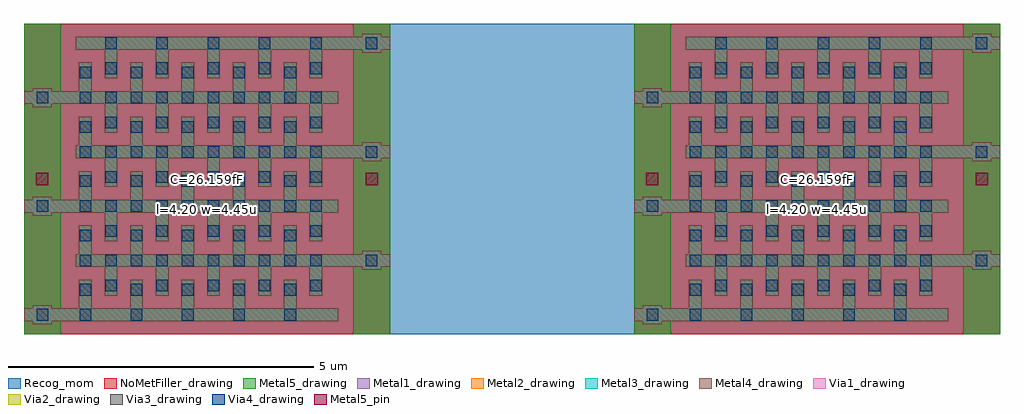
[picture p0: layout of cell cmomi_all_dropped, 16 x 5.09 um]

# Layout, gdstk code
import gdstk
lib = gdstk.Library(unit=1e-6, precision=1e-09)
def R(c, l, rs):  # rectangles x0, y0, x1, y1
    for r in rs: c.add(gdstk.rectangle(r[:2], r[2:], *l))
def A(c, l, x, y, w, h, nx, ny, dx, dy):  # array of equal rectangles
    R(c, l, [(x+i*dx, y+j*dy, x+i*dx+w, y+j*dy+h) for i in range(nx) for j in range(ny)])
Metal1_drawing = (8, 0)
Metal2_drawing = (10, 0)
Via1_drawing = (19, 0)
Via2_drawing = (29, 0)
Metal3_drawing = (30, 0)
Via3_drawing = (49, 0)
Metal4_drawing = (50, 0)
Via4_drawing = (66, 0)
Metal5_drawing = (67, 0)
Metal5_pin = (67, 2)
Recog_mom = (99, 39)
NoMetFiller_drawing = (160, 0)

cmomi_all_dropped = lib.new_cell('cmomi_all_dropped')
A(cmomi_all_dropped, Metal1_drawing, 0.145, -2.38, 0.31, 0.31, 1, 3, 0, 1.78)
A(cmomi_all_dropped, Metal1_drawing, 10.145, -2.38, 0.31, 0.31, 1, 3, 0, 1.78)
A(cmomi_all_dropped, Metal1_drawing, 0, -2.33, 5.15, 0.21, 1, 3, 0, 1.78)
A(cmomi_all_dropped, Metal1_drawing, 10, -2.33, 5.15, 0.21, 1, 3, 0, 1.78)
A(cmomi_all_dropped, Metal1_drawing, 0.9, -2.225, 0.21, 0.575, 5, 5, 0.84, 0.89)
A(cmomi_all_dropped, Metal1_drawing, 10.9, -2.225, 0.21, 0.575, 5, 5, 0.84, 0.89)
A(cmomi_all_dropped, Metal1_drawing, 1.32, -1.91, 0.21, 0.575, 5, 5, 0.84, 0.89)
A(cmomi_all_dropped, Metal1_drawing, 11.32, -1.91, 0.21, 0.575, 5, 5, 0.84, 0.89)
A(cmomi_all_dropped, Metal1_drawing, 5.545, -1.49, 0.31, 0.31, 1, 3, 0, 1.78)
A(cmomi_all_dropped, Metal1_drawing, 15.545, -1.49, 0.31, 0.31, 1, 3, 0, 1.78)
A(cmomi_all_dropped, Metal1_drawing, 0.85, -1.44, 5.15, 0.21, 1, 3, 0, 1.78)
A(cmomi_all_dropped, Metal1_drawing, 10.85, -1.44, 5.15, 0.21, 1, 3, 0, 1.78)
A(cmomi_all_dropped, Metal2_drawing, 0.145, -2.38, 0.31, 0.31, 1, 3, 0, 1.78)
A(cmomi_all_dropped, Metal2_drawing, 10.145, -2.38, 0.31, 0.31, 1, 3, 0, 1.78)
A(cmomi_all_dropped, Metal2_drawing, 0, -2.33, 5.15, 0.21, 1, 3, 0, 1.78)
A(cmomi_all_dropped, Metal2_drawing, 10, -2.33, 5.15, 0.21, 1, 3, 0, 1.78)
A(cmomi_all_dropped, Metal2_drawing, 0.9, -2.225, 0.21, 0.575, 5, 5, 0.84, 0.89)
A(cmomi_all_dropped, Metal2_drawing, 10.9, -2.225, 0.21, 0.575, 5, 5, 0.84, 0.89)
A(cmomi_all_dropped, Metal2_drawing, 1.32, -1.91, 0.21, 0.575, 5, 5, 0.84, 0.89)
A(cmomi_all_dropped, Metal2_drawing, 11.32, -1.91, 0.21, 0.575, 5, 5, 0.84, 0.89)
A(cmomi_all_dropped, Metal2_drawing, 5.545, -1.49, 0.31, 0.31, 1, 3, 0, 1.78)
A(cmomi_all_dropped, Metal2_drawing, 15.545, -1.49, 0.31, 0.31, 1, 3, 0, 1.78)
A(cmomi_all_dropped, Metal2_drawing, 0.85, -1.44, 5.15, 0.21, 1, 3, 0, 1.78)
A(cmomi_all_dropped, Metal2_drawing, 10.85, -1.44, 5.15, 0.21, 1, 3, 0, 1.78)
A(cmomi_all_dropped, Via1_drawing, 0.205, -2.32, 0.19, 0.19, 1, 3, 0, 1.78)
A(cmomi_all_dropped, Via1_drawing, 0.91, -2.32, 0.19, 0.19, 5, 2, 0.84, 0.41)
A(cmomi_all_dropped, Via1_drawing, 10.205, -2.32, 0.19, 0.19, 1, 3, 0, 1.78)
A(cmomi_all_dropped, Via1_drawing, 10.91, -2.32, 0.19, 0.19, 5, 2, 0.84, 0.41)
A(cmomi_all_dropped, Via1_drawing, 1.33, -1.84, 0.19, 0.19, 5, 5, 0.84, 0.89)
A(cmomi_all_dropped, Via1_drawing, 11.33, -1.84, 0.19, 0.19, 5, 5, 0.84, 0.89)
A(cmomi_all_dropped, Via1_drawing, 0.91, -1.43, 0.19, 0.19, 10, 4, 0.42, 0.89)
A(cmomi_all_dropped, Via1_drawing, 5.605, -1.43, 0.19, 0.19, 1, 3, 0, 1.78)
A(cmomi_all_dropped, Via1_drawing, 10.91, -1.43, 0.19, 0.19, 10, 4, 0.42, 0.89)
A(cmomi_all_dropped, Via1_drawing, 15.605, -1.43, 0.19, 0.19, 1, 3, 0, 1.78)
A(cmomi_all_dropped, Via1_drawing, 0.91, -1.02, 0.19, 0.19, 5, 4, 0.84, 0.89)
A(cmomi_all_dropped, Via1_drawing, 10.91, -1.02, 0.19, 0.19, 5, 4, 0.84, 0.89)
A(cmomi_all_dropped, Via1_drawing, 1.33, 2.13, 0.19, 0.19, 5, 1, 0.84, 0)
A(cmomi_all_dropped, Via1_drawing, 11.33, 2.13, 0.19, 0.19, 5, 1, 0.84, 0)
A(cmomi_all_dropped, Via2_drawing, 0.205, -2.32, 0.19, 0.19, 1, 3, 0, 1.78)
A(cmomi_all_dropped, Via2_drawing, 0.91, -2.32, 0.19, 0.19, 5, 2, 0.84, 0.41)
A(cmomi_all_dropped, Via2_drawing, 10.205, -2.32, 0.19, 0.19, 1, 3, 0, 1.78)
A(cmomi_all_dropped, Via2_drawing, 10.91, -2.32, 0.19, 0.19, 5, 2, 0.84, 0.41)
A(cmomi_all_dropped, Via2_drawing, 1.33, -1.84, 0.19, 0.19, 5, 5, 0.84, 0.89)
A(cmomi_all_dropped, Via2_drawing, 11.33, -1.84, 0.19, 0.19, 5, 5, 0.84, 0.89)
A(cmomi_all_dropped, Via2_drawing, 0.91, -1.43, 0.19, 0.19, 10, 4, 0.42, 0.89)
A(cmomi_all_dropped, Via2_drawing, 5.605, -1.43, 0.19, 0.19, 1, 3, 0, 1.78)
A(cmomi_all_dropped, Via2_drawing, 10.91, -1.43, 0.19, 0.19, 10, 4, 0.42, 0.89)
A(cmomi_all_dropped, Via2_drawing, 15.605, -1.43, 0.19, 0.19, 1, 3, 0, 1.78)
A(cmomi_all_dropped, Via2_drawing, 0.91, -1.02, 0.19, 0.19, 5, 4, 0.84, 0.89)
A(cmomi_all_dropped, Via2_drawing, 10.91, -1.02, 0.19, 0.19, 5, 4, 0.84, 0.89)
A(cmomi_all_dropped, Via2_drawing, 1.33, 2.13, 0.19, 0.19, 5, 1, 0.84, 0)
A(cmomi_all_dropped, Via2_drawing, 11.33, 2.13, 0.19, 0.19, 5, 1, 0.84, 0)
A(cmomi_all_dropped, Metal3_drawing, 0.145, -2.38, 0.31, 0.31, 1, 3, 0, 1.78)
A(cmomi_all_dropped, Metal3_drawing, 10.145, -2.38, 0.31, 0.31, 1, 3, 0, 1.78)
A(cmomi_all_dropped, Metal3_drawing, 0, -2.33, 5.15, 0.21, 1, 3, 0, 1.78)
A(cmomi_all_dropped, Metal3_drawing, 10, -2.33, 5.15, 0.21, 1, 3, 0, 1.78)
A(cmomi_all_dropped, Metal3_drawing, 0.9, -2.225, 0.21, 0.575, 5, 5, 0.84, 0.89)
A(cmomi_all_dropped, Metal3_drawing, 10.9, -2.225, 0.21, 0.575, 5, 5, 0.84, 0.89)
A(cmomi_all_dropped, Metal3_drawing, 1.32, -1.91, 0.21, 0.575, 5, 5, 0.84, 0.89)
A(cmomi_all_dropped, Metal3_drawing, 11.32, -1.91, 0.21, 0.575, 5, 5, 0.84, 0.89)
A(cmomi_all_dropped, Metal3_drawing, 5.545, -1.49, 0.31, 0.31, 1, 3, 0, 1.78)
A(cmomi_all_dropped, Metal3_drawing, 15.545, -1.49, 0.31, 0.31, 1, 3, 0, 1.78)
A(cmomi_all_dropped, Metal3_drawing, 0.85, -1.44, 5.15, 0.21, 1, 3, 0, 1.78)
A(cmomi_all_dropped, Metal3_drawing, 10.85, -1.44, 5.15, 0.21, 1, 3, 0, 1.78)
A(cmomi_all_dropped, Via3_drawing, 0.205, -2.32, 0.19, 0.19, 1, 3, 0, 1.78)
A(cmomi_all_dropped, Via3_drawing, 0.91, -2.32, 0.19, 0.19, 5, 2, 0.84, 0.41)
A(cmomi_all_dropped, Via3_drawing, 10.205, -2.32, 0.19, 0.19, 1, 3, 0, 1.78)
A(cmomi_all_dropped, Via3_drawing, 10.91, -2.32, 0.19, 0.19, 5, 2, 0.84, 0.41)
A(cmomi_all_dropped, Via3_drawing, 1.33, -1.84, 0.19, 0.19, 5, 5, 0.84, 0.89)
A(cmomi_all_dropped, Via3_drawing, 11.33, -1.84, 0.19, 0.19, 5, 5, 0.84, 0.89)
A(cmomi_all_dropped, Via3_drawing, 0.91, -1.43, 0.19, 0.19, 10, 4, 0.42, 0.89)
A(cmomi_all_dropped, Via3_drawing, 5.605, -1.43, 0.19, 0.19, 1, 3, 0, 1.78)
A(cmomi_all_dropped, Via3_drawing, 10.91, -1.43, 0.19, 0.19, 10, 4, 0.42, 0.89)
A(cmomi_all_dropped, Via3_drawing, 15.605, -1.43, 0.19, 0.19, 1, 3, 0, 1.78)
A(cmomi_all_dropped, Via3_drawing, 0.91, -1.02, 0.19, 0.19, 5, 4, 0.84, 0.89)
A(cmomi_all_dropped, Via3_drawing, 10.91, -1.02, 0.19, 0.19, 5, 4, 0.84, 0.89)
A(cmomi_all_dropped, Via3_drawing, 1.33, 2.13, 0.19, 0.19, 5, 1, 0.84, 0)
A(cmomi_all_dropped, Via3_drawing, 11.33, 2.13, 0.19, 0.19, 5, 1, 0.84, 0)
A(cmomi_all_dropped, Metal4_drawing, 0.145, -2.38, 0.31, 0.31, 1, 3, 0, 1.78)
A(cmomi_all_dropped, Metal4_drawing, 10.145, -2.38, 0.31, 0.31, 1, 3, 0, 1.78)
A(cmomi_all_dropped, Metal4_drawing, 0, -2.33, 5.15, 0.21, 1, 3, 0, 1.78)
A(cmomi_all_dropped, Metal4_drawing, 10, -2.33, 5.15, 0.21, 1, 3, 0, 1.78)
A(cmomi_all_dropped, Metal4_drawing, 0.9, -2.225, 0.21, 0.575, 5, 5, 0.84, 0.89)
A(cmomi_all_dropped, Metal4_drawing, 10.9, -2.225, 0.21, 0.575, 5, 5, 0.84, 0.89)
A(cmomi_all_dropped, Metal4_drawing, 1.32, -1.91, 0.21, 0.575, 5, 5, 0.84, 0.89)
A(cmomi_all_dropped, Metal4_drawing, 11.32, -1.91, 0.21, 0.575, 5, 5, 0.84, 0.89)
A(cmomi_all_dropped, Metal4_drawing, 5.545, -1.49, 0.31, 0.31, 1, 3, 0, 1.78)
A(cmomi_all_dropped, Metal4_drawing, 15.545, -1.49, 0.31, 0.31, 1, 3, 0, 1.78)
A(cmomi_all_dropped, Metal4_drawing, 0.85, -1.44, 5.15, 0.21, 1, 3, 0, 1.78)
A(cmomi_all_dropped, Metal4_drawing, 10.85, -1.44, 5.15, 0.21, 1, 3, 0, 1.78)
A(cmomi_all_dropped, Via4_drawing, 0.205, -2.32, 0.19, 0.19, 1, 3, 0, 1.78)
A(cmomi_all_dropped, Via4_drawing, 0.91, -2.32, 0.19, 0.19, 5, 2, 0.84, 0.41)
A(cmomi_all_dropped, Via4_drawing, 10.205, -2.32, 0.19, 0.19, 1, 3, 0, 1.78)
A(cmomi_all_dropped, Via4_drawing, 10.91, -2.32, 0.19, 0.19, 5, 2, 0.84, 0.41)
A(cmomi_all_dropped, Via4_drawing, 1.33, -1.84, 0.19, 0.19, 5, 5, 0.84, 0.89)
A(cmomi_all_dropped, Via4_drawing, 11.33, -1.84, 0.19, 0.19, 5, 5, 0.84, 0.89)
A(cmomi_all_dropped, Via4_drawing, 0.91, -1.43, 0.19, 0.19, 10, 4, 0.42, 0.89)
A(cmomi_all_dropped, Via4_drawing, 5.605, -1.43, 0.19, 0.19, 1, 3, 0, 1.78)
A(cmomi_all_dropped, Via4_drawing, 10.91, -1.43, 0.19, 0.19, 10, 4, 0.42, 0.89)
A(cmomi_all_dropped, Via4_drawing, 15.605, -1.43, 0.19, 0.19, 1, 3, 0, 1.78)
A(cmomi_all_dropped, Via4_drawing, 0.91, -1.02, 0.19, 0.19, 5, 4, 0.84, 0.89)
A(cmomi_all_dropped, Via4_drawing, 10.91, -1.02, 0.19, 0.19, 5, 4, 0.84, 0.89)
A(cmomi_all_dropped, Via4_drawing, 1.33, 2.13, 0.19, 0.19, 5, 1, 0.84, 0)
A(cmomi_all_dropped, Via4_drawing, 11.33, 2.13, 0.19, 0.19, 5, 1, 0.84, 0)
A(cmomi_all_dropped, Metal5_drawing, 0, -2.33, 5.15, 0.21, 1, 3, 0, 1.78)
A(cmomi_all_dropped, Metal5_drawing, 10, -2.33, 5.15, 0.21, 1, 3, 0, 1.78)
A(cmomi_all_dropped, Metal5_drawing, 0.9, -2.225, 0.21, 0.575, 5, 5, 0.84, 0.89)
A(cmomi_all_dropped, Metal5_drawing, 10.9, -2.225, 0.21, 0.575, 5, 5, 0.84, 0.89)
A(cmomi_all_dropped, Metal5_drawing, 1.32, -1.91, 0.21, 0.575, 5, 5, 0.84, 0.89)
A(cmomi_all_dropped, Metal5_drawing, 11.32, -1.91, 0.21, 0.575, 5, 5, 0.84, 0.89)
A(cmomi_all_dropped, Metal5_drawing, 0.85, -1.44, 5.15, 0.21, 1, 3, 0, 1.78)
A(cmomi_all_dropped, Metal5_drawing, 10.85, -1.44, 5.15, 0.21, 1, 3, 0, 1.78)
R(cmomi_all_dropped, Metal5_drawing, [(0,-2.545,0.6,2.545), (5.4,-2.545,6,2.545), (10,-2.545,10.6,2.545), (15.4,-2.545,16,2.545)])
R(cmomi_all_dropped, Metal5_pin, [(0.2,-0.105,0.4,0.105), (5.6,-0.105,5.8,0.105), (10.2,-0.105,10.4,0.105), (15.6,-0.105,15.8,0.105)])
R(cmomi_all_dropped, Recog_mom, [(0,-2.545,6,2.545), (5.9,-2.545,10.1,2.545), (10,-2.545,16,2.545)])
R(cmomi_all_dropped, NoMetFiller_drawing, [(0,-2.545,6,2.545), (10,-2.545,16,2.545)])
cmomi_all_dropped.add(gdstk.Label('C=26.159fF', (3,0), layer=63, texttype=0))
cmomi_all_dropped.add(gdstk.Label('cap_cmomi', (3,0), layer=63, texttype=0))
cmomi_all_dropped.add(gdstk.Label('l=4.20 w=4.45u', (3,-0.5), layer=63, texttype=0))
cmomi_all_dropped.add(gdstk.Label('C=26.159fF', (13,0), layer=63, texttype=0))
cmomi_all_dropped.add(gdstk.Label('cap_cmomi', (13,0), layer=63, texttype=0))
cmomi_all_dropped.add(gdstk.Label('l=4.20 w=4.45u', (13,-0.5), layer=63, texttype=0))

lib.write_gds('cmomi_all_dropped.gds')
